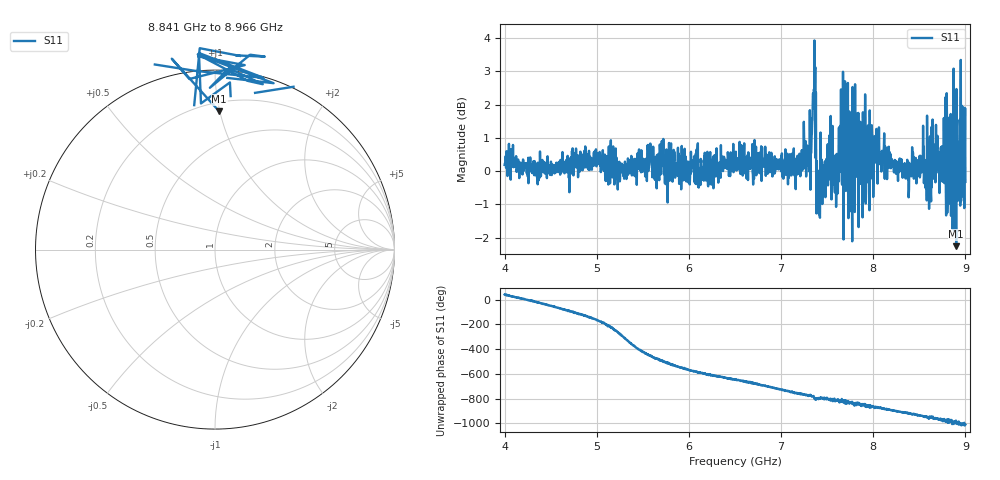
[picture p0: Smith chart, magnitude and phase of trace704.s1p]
! Created with skrf 1.8.0 (http://scikit-rf.org).
# Hz S RI R 50.0
!freq ReS11 ImS11
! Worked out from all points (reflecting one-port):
!   1601 points, 4 GHz to 9 GHz, reference 50 ohm
!   lowest |S11| = -2.3 dB at 8.9 GHz (marker M1), VSWR 7.74, Z = 13.1 + j49.8 ohm
!   phase of S11 starts at 41 deg and turns -1050 deg over the sweep
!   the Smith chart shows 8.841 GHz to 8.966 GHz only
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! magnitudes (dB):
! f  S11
! 4 GHz  0.2
! 4.625 GHz  0.0
! 4.891 GHz  0.5
! 5.25 GHz  -0.3
! 5.572 GHz  0.4
! 5.653 GHz  0.5
! 5.706 GHz  0.9
! 5.753 GHz  -0.4
! 5.875 GHz  -0.1
! 6.5 GHz  0.2
! 7.125 GHz  0.5
! 7.294 GHz  0.6
! 7.353 GHz  2.2
! 7.409 GHz  -0.6
! 7.516 GHz  0.4
! 7.597 GHz  -1.1
! 7.65 GHz  2.5
! 7.75 GHz  1.2
! 7.775 GHz  2.5
! 7.8 GHz  -1.2
! 8.038 GHz  0.9
! 8.375 GHz  -0.1
! 8.522 GHz  0.1
! 8.612 GHz  0.6
! 8.666 GHz  0.4
! 8.9 GHz  -2.3
! 8.972 GHz  0.4
! 9 GHz  -0.3
